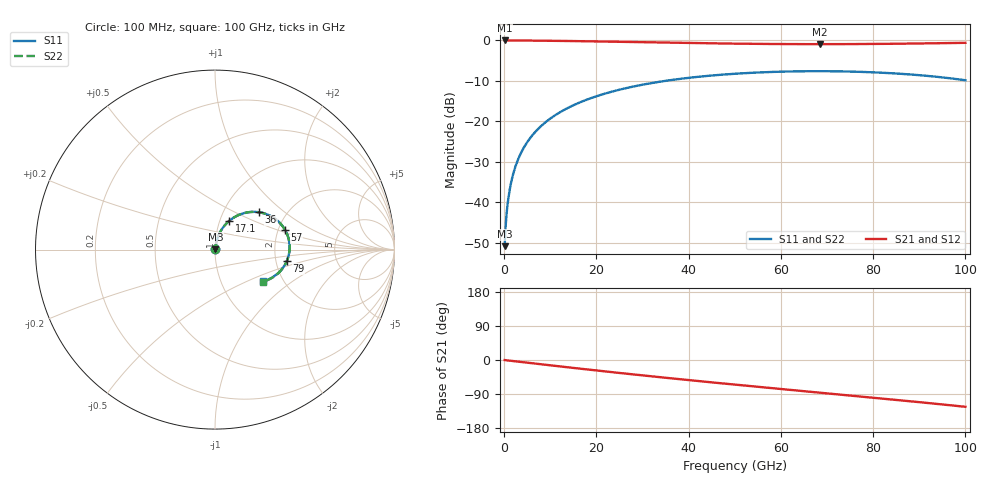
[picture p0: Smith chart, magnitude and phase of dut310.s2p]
! Touchstone file exported from HFSS 2026.1.0
!  File:  C:/ffzhzh/LocalFiles/Ansys_Project_Files/temp_train_RDL_310_1783502515_31944.aedt
!  Generated:  05:23:14 PM Jul  8, 2026
!  Design:  RDL
!  Project:  temp_train_RDL_310_1783502515_31944
! Variables:
!  h_bsmrdl = 2um
!  h_ox = 20um
!  h_rdl = 5um
!  h_sub = 80um
!  h_tmrdl = 2.35um
!  h_tsv = 80um
!  h_via = 3um
!  l_bsmrdl = 300um
!  l_sub = 810.05um
!  l_tmrdl = 410.05um
!  m_sub = 200um
!  pitch = 45.12um
!  r_tsv = 6um
!  s_tmrdl = 10um
!  w_bsmrdl = 18um
!  w_sub = 500um
!  w_tmrdl = 28.29um
!  x_tsv_center1 = 424.195um
!  x_tsv_center2 = 742.195um
!  x_tsv_center3 = 1180.535um
!  x_tsv_center4 = 1498.535um
!  x_tsv_center5 = 1936.875um
!  x_tsv_center6 = 2254.875um
# GHz S MA R 50.000000
! Terminal data exported
! Port[1] = TM_RDL1_1_T1
! Port[2] = TM_RDL1_1_T2
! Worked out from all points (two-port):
!   1000 points, 100 MHz to 100 GHz, reference 50 ohm
!   highest |S21| = -0.02 dB at 100 MHz (marker M1); lowest = -0.9 dB at 68.4 GHz (marker M2)
!   |S21| within 3 dB of the highest: start of sweep to end of sweep
!   lowest |S11| = -50.8 dB at 100 MHz (marker M3), VSWR 1.01, Z = 50.3 + j0.135 ohm
!   |S11| at or under -10 dB: start of sweep to 34.97 GHz
!   |S22| runs from -50.8 to -7.6 dB; largest |S21 - S12| = 1.7e-14
!   S11 on the Smith chart (normalised r, x): 100 MHz: 1.01, +0.00; 17.1 GHz: 1.11, +0.36; 36 GHz: 1.47, +0.68; 57 GHz: 2.17, +0.58; 79 GHz: 2.30, -0.34; 100 GHz: 1.59, -0.62
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0.1  0.002874 27.8  0.9975 -0.2  0.9975 -0.2  0.002874 27.8
! Gamma 0 0 0 0
! Port Impedance 50 0 50 0
0.4  0.005856 58.9  0.997 -0.6  0.997 -0.6  0.005856 58.9
0.9  0.01108 70.6  0.9965 -1.3  0.9965 -1.3  0.01108 70.6
1.2  0.01423 73.7  0.9963 -1.7  0.9963 -1.7  0.01423 73.7
1.6  0.0185 76.2  0.9961 -2.3  0.9961 -2.3  0.0185 76.2
2.7  0.03039 78.8  0.9956 -3.8  0.9956 -3.8  0.0304 78.8
4.3  0.04776 78.8  0.9946 -6.1  0.9946 -6.1  0.04777 78.8
6.5  0.07145 77.0  0.9927 -9.2  0.9927 -9.2  0.07145 77.0
9.2  0.09992 73.9  0.9896 -13.0  0.9896 -13.0  0.09992 73.9
12.6  0.1345 69.6  0.9844 -17.6  0.9844 -17.6  0.1345 69.6
16.8  0.175 64.2  0.9769 -23.3  0.9769 -23.3  0.175 64.2
17.1  0.1778 63.8  0.9764 -23.7  0.9764 -23.7  0.1778 63.8
24.4  0.2411 54.5  0.9613 -33.4  0.9613 -33.4  0.2411 54.4
33.4  0.3064 43.3  0.9417 -44.9  0.9417 -44.9  0.3064 43.3
36  0.3224 40.2  0.9361 -48.1  0.9361 -48.1  0.3225 40.1
50.1  0.3872 23.7  0.9109 -65.0  0.9109 -65.0  0.3873 23.5
57  0.4054 15.8  0.903 -73.0  0.903 -73.0  0.4054 15.6
66.7  0.4161 4.9  0.8979 -84.2  0.8979 -84.2  0.4162 4.7
68.4  0.4163 3.0  0.8978 -86.1  0.8978 -86.1  0.4163 2.8
79  0.4052 -8.8  0.9022 -98.3  0.9022 -98.3  0.4052 -9.2
83.4  0.3945 -13.8  0.9065 -103.4  0.9065 -103.4  0.3945 -14.2
100  0.3217 -33.2  0.9326 -123.5  0.9326 -123.5  0.3216 -33.8
